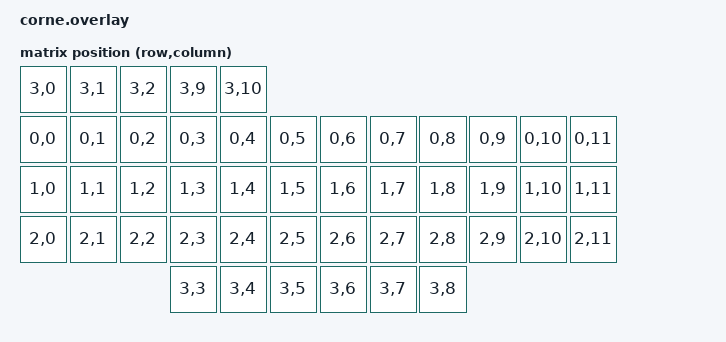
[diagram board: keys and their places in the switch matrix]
/*
 * Copyright (c) 2025 The ZMK Contributors
 *
 * SPDX-License-Identifier: MIT
 *
 * 文件名是 corne.overlay，ZMK 会把它追加到 corne_left / corne_right /
 * corne_esb_dongle 三个构建上（shield 名前缀候选包含 "corne"），
 * 所以这里的东西天然对三块固件保持一致 —— ESB 必须收发双方一致才能通信。
 */

#include <dt-bindings/zmk/matrix_transform.h>

/ {
    /*
     * ESB 收发地址。
     * 这些是文档里的示例地址。如果周围还有别人用 ESB 的键盘/鼠标，请换成自己
     * 随机的一组值（三个数组都改），否则可能互相干扰。
     */
    esb_split {
        compatible = "zmk,esb-split";
        base-addr-0 = <0xE7 0xE7 0xE7 0xE7>;
        base-addr-1 = <0xC2 0xC2 0xC2 0xC2>;
        addr-prefix = <0xE7 0xC2 0xC3 0xC4 0xC5 0xC6 0xC7 0xC8>;
    };
};

/*
 * ============================================================================
 * 键位编号空间的分配：0~4 让给鼠标，Corne 整体后移到 5~46
 * ============================================================================
 *
 * ZMK 里 keymap 的"位置号"就是 matrix-transform 的 map 数组下标
 * （binding 里的说明：map 是 "a mapping from keymap logical positions to
 * matrix physical positions"，即第 i 项 ⇒ 位置 i）。
 *
 * Lariska 鼠标的 5 个按键是 gpio-direct kscan，上报的是它自己 map 的 0~4；
 * 而 Corne 官方 map 的前 5 项（TAB/Q/W/E/R）同样占 0~4，两边会撞车。
 * 鼠标固件不动，所以这里在 Corne 的 map 前面插入 5 个占位条目，
 * 把 Corne 的 42 个键整体推到位置 5~46，0~4 就空出来给鼠标了。
 *
 * 占位用的是 RC(3,0)、RC(3,1)、RC(3,2)、RC(3,9)、RC(3,10)：
 * 官方 6 列 map 里没用到的格子（Corne 右手拇指只到 RC(3,6)~RC(3,8)），
 * 硬件永远不会产生这些行列，所以它们永远匹配不到，纯属占位。
 *
 * 本文件被三个固件共用，位置编号必须保持一致：
 * 左右手上报 5~46，dongle 的 keymap 也按 5~46 解释。
 * （35 键的 5 列布局 map 保持官方 36 项不动；我们没有用到它，
 *   同时 ZMK 的 keymap 长度取所有布局 map 长度的最大值，仍是 47。）
 */
&default_transform {
    map = <
// 0~4：给鼠标留的位置（下面是 Corne 官方 42 键，整体后移 5 位）
RC(3,0) RC(3,1) RC(3,2) RC(3,9) RC(3,10)

// | SW1  | SW2  | SW3  | SW4  | SW5  | SW6  |   | SW6  | SW5  | SW4  | SW3  | SW2  | SW1  |
// | SW7  | SW8  | SW9  | SW10 | SW11 | SW12 |   | SW12 | SW11 | SW10 | SW9  | SW8  | SW7  |
// | SW13 | SW14 | SW15 | SW16 | SW17 | SW18 |   | SW18 | SW17 | SW16 | SW15 | SW14 | SW13 |
//                      | SW19 | SW20 | SW21 |   | SW21 | SW20 | SW19 |
RC(0,0) RC(0,1) RC(0,2) RC(0,3) RC(0,4) RC(0,5)  RC(0,6) RC(0,7) RC(0,8) RC(0,9) RC(0,10) RC(0,11)
RC(1,0) RC(1,1) RC(1,2) RC(1,3) RC(1,4) RC(1,5)  RC(1,6) RC(1,7) RC(1,8) RC(1,9) RC(1,10) RC(1,11)
RC(2,0) RC(2,1) RC(2,2) RC(2,3) RC(2,4) RC(2,5)  RC(2,6) RC(2,7) RC(2,8) RC(2,9) RC(2,10) RC(2,11)
                        RC(3,3) RC(3,4) RC(3,5)  RC(3,6) RC(3,7) RC(3,8)
    >;
};
